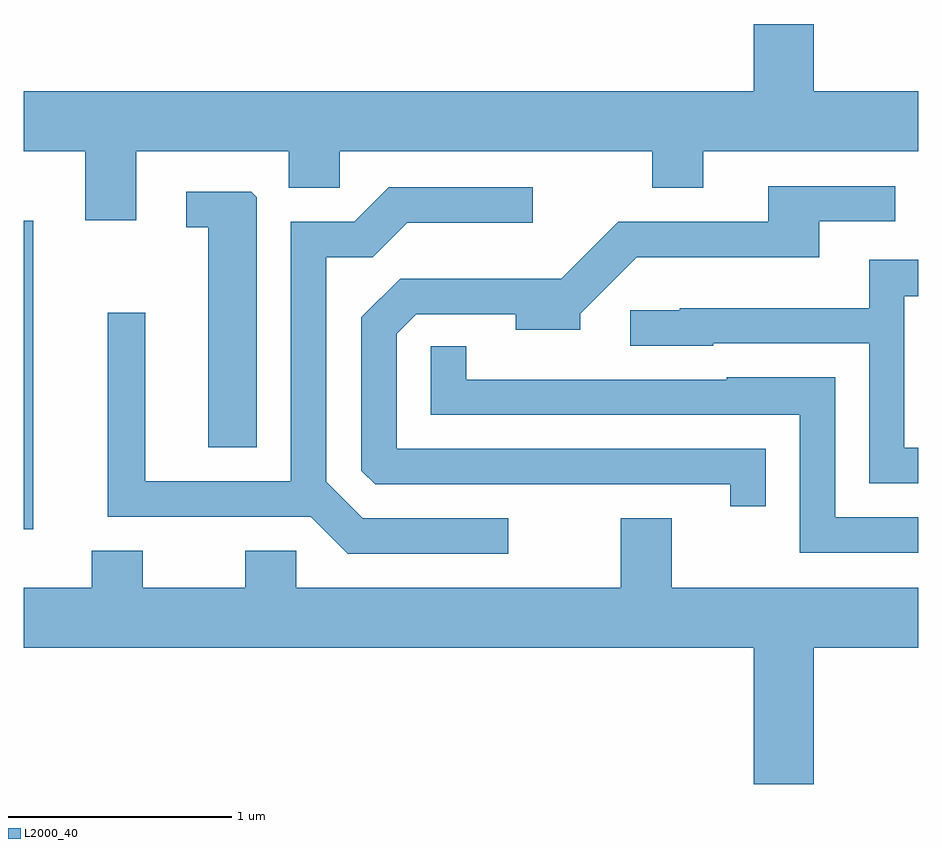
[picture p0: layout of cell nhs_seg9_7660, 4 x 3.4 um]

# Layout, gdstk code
import gdstk
lib = gdstk.Library(unit=1e-6, precision=1e-09)
def R(c, l, rs):  # rectangles x0, y0, x1, y1
    for r in rs: c.add(gdstk.rectangle(r[:2], r[2:], *l))
def P(c, l, *ps):  # polygons
    for p in ps: c.add(gdstk.Polygon(p, *l))
L2000_40 = (2000, 40)

nhs_seg9_7660 = lib.new_cell('nhs_seg9_7660')
R(nhs_seg9_7660, L2000_40, [(411.611,2047.846,411.654,2049.224)])
P(nhs_seg9_7660, L2000_40, [(412.114,2049.536),(412.796,2049.536),(412.796,2049.371),(413.024,2049.371),(413.024,2049.536),(414.421,2049.536),(414.421,2049.371),(414.649,2049.371),(414.649,2049.536),(415.611,2049.536),(415.611,2049.804),(415.144,2049.804),(415.144,2050.104),(414.876,2050.104),(414.876,2049.804),(411.611,2049.804),(411.611,2049.536),(411.886,2049.536),(411.886,2049.226),(412.114,2049.226)],
  [(414.929,2048.204),(413.279,2048.204),(413.279,2048.719),(413.367,2048.806),(413.811,2048.806),(413.811,2048.736),(414.099,2048.736),(414.099,2048.809),(414.352,2049.061),(415.169,2049.061),(415.169,2049.221),(415.508,2049.221),(415.508,2049.379),(414.941,2049.379),(414.941,2049.219),(414.269,2049.219),(414.014,2048.964),(413.294,2048.964),(413.121,2048.792),(413.121,2048.106),(413.182,2048.046),(414.771,2048.046),(414.771,2047.948),(414.929,2047.948)],
  [(413.778,2047.894),(413.127,2047.894),(412.964,2048.057),(412.964,2049.061),(413.172,2049.061),(413.327,2049.216),(413.888,2049.216),(413.888,2049.374),(413.244,2049.374),(413.089,2049.219),(412.806,2049.219),(412.806,2048.059),(412.154,2048.059),(412.154,2048.813),(411.986,2048.813),(411.986,2047.901),(412.894,2047.901),(413.059,2047.736),(413.778,2047.736)],
  [(412.654,2049.329),(412.629,2049.354),(412.338,2049.354),(412.338,2049.196),(412.436,2049.196),(412.436,2048.211),(412.654,2048.211)],
  [(415.611,2048.209),(415.549,2048.209),(415.549,2048.886),(415.611,2048.886),(415.611,2049.049),(415.391,2049.049),(415.391,2048.834),(414.545,2048.834),(414.545,2048.824),(414.323,2048.824),(414.323,2048.666),(414.695,2048.666),(414.695,2048.676),(415.391,2048.676),(415.391,2048.051),(415.611,2048.051)],
  [(415.611,2047.899),(415.239,2047.899),(415.239,2048.524),(414.755,2048.524),(414.755,2048.514),(413.589,2048.514),(413.589,2048.663),(413.431,2048.663),(413.431,2048.356),(415.081,2048.356),(415.081,2047.741),(415.611,2047.741)],
  [(414.876,2046.706),(415.144,2046.706),(415.144,2047.316),(415.611,2047.316),(415.611,2047.584),(414.509,2047.584),(414.509,2047.894),(414.281,2047.894),(414.281,2047.584),(412.829,2047.584),(412.829,2047.749),(412.601,2047.749),(412.601,2047.584),(412.144,2047.584),(412.144,2047.749),(411.916,2047.749),(411.916,2047.584),(411.611,2047.584),(411.611,2047.316),(414.876,2047.316)])

lib.write_gds('nhs_seg9_7660.gds')
